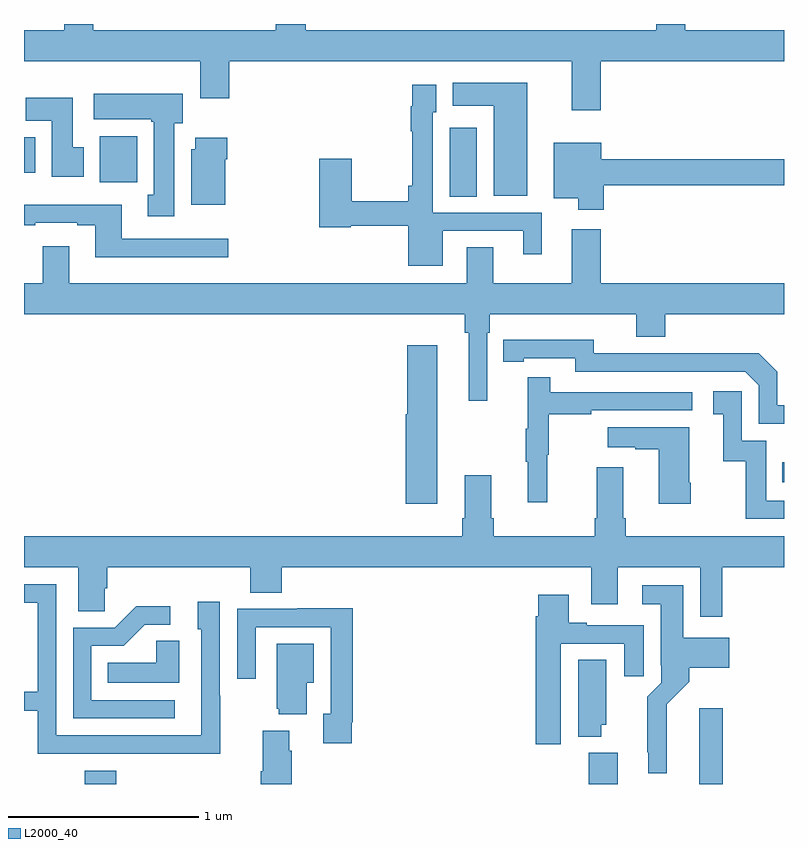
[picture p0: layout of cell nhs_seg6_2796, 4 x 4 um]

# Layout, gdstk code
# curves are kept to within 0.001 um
import gdstk
lib = gdstk.Library(unit=1e-6, precision=1e-09)
def R(c, l, rs):  # rectangles x0, y0, x1, y1
    for r in rs: c.add(gdstk.rectangle(r[:2], r[2:], *l))
def P(c, l, *ps):  # polygons
    for p in ps: c.add(gdstk.Polygon(p, *l))
L2000_40 = (2000, 40)

nhs_seg6_2796 = lib.new_cell('nhs_seg6_2796')
R(nhs_seg6_2796, L2000_40, [(275.321,975.5,275.486,975.571), (277.973,975.5,278.125,975.664), (278.555,975.5,278.678,975.898), (278.992,977.088,279,977.193), (277.241,978.592,277.384,978.955), (275.399,978.668,275.596,978.91), (275,978.716,275.059,978.904)])
P(nhs_seg6_2796, L2000_40, [(278.036,979.304),(279,979.304),(279,979.468),(278.48,979.468),(278.48,979.5),(278.327,979.5),(278.327,979.468),(276.482,979.468),(276.482,979.5),(276.325,979.5),(276.325,979.468),(275.365,979.468),(275.365,979.5),(275.213,979.5),(275.213,979.468),(275,979.468),(275,979.304),(275.927,979.304),(275.927,979.11),(276.08,979.11),(276.08,979.304),(277.883,979.304),(277.883,979.047),(278.036,979.047)],
  [(277.648,979.192),(277.256,979.192),(277.256,979.07),(277.472,979.07),(277.472,978.596),(277.648,978.596)],
  [(277.204,978.411),(277.628,978.411),(277.628,978.288),(277.726,978.288),(277.726,978.507),(277.152,978.507),(277.152,979.035),(277.171,979.035),(277.171,979.18),(277.044,979.18),(277.044,979.067),(277.036,979.067),(277.036,978.935),(277.044,978.935),(277.044,978.649),(277.022,978.649),(277.022,978.566),(276.724,978.566),(276.724,978.79),(276.554,978.79),(276.554,978.43),(276.72,978.43),(276.72,978.438),(277.022,978.438),(277.022,978.227),(277.204,978.227)],
  [(275.791,978.978),(275.836,978.978),(275.836,979.132),(275.367,979.132),(275.367,978.998),(275.671,978.998),(275.671,978.985),(275.684,978.985),(275.684,978.602),(275.651,978.602),(275.651,978.489),(275.791,978.489)],
  [(275.314,978.852),(275.257,978.852),(275.257,979.111),(275.008,979.111),(275.008,978.992),(275.147,978.992),(275.147,978.696),(275.314,978.696)],
  [(276.058,978.788),(276.071,978.788),(276.071,978.901),(275.9,978.901),(275.9,978.84),(275.879,978.84),(275.879,978.548),(276.058,978.548)],
  [(278.051,978.652),(279,978.652),(279,978.788),(278.038,978.788),(278.038,978.874),(277.787,978.874),(277.787,978.584),(277.916,978.584),(277.916,978.522),(278.051,978.522)],
  [(276.076,978.369),(275.515,978.369),(275.515,978.55),(275,978.55),(275,978.441),(275.059,978.441),(275.059,978.453),(275.279,978.453),(275.279,978.441),(275.375,978.441),(275.375,978.272),(276.076,978.272)],
  [(277.437,977.876),(277.451,977.876),(277.451,977.972),(278.222,977.972),(278.222,977.855),(278.375,977.855),(278.375,977.972),(279,977.972),(279,978.136),(278.036,978.136),(278.036,978.421),(277.883,978.421),(277.883,978.136),(277.471,978.136),(277.471,978.326),(277.331,978.326),(277.331,978.136),(275.239,978.136),(275.239,978.331),(275.099,978.331),(275.099,978.136),(275,978.136),(275,977.972),(277.321,977.972),(277.321,977.876),(277.34,977.876),(277.34,977.517),(277.437,977.517)],
  [(279,977.493),(278.964,977.493),(278.964,977.67),(278.866,977.768),(278.458,977.768),(278.458,977.766),(277.998,977.766),(277.998,977.839),(277.522,977.838),(277.522,977.722),(277.63,977.722),(277.63,977.742),(277.902,977.742),(277.902,977.67),(278.796,977.67),(278.868,977.598),(278.868,977.397),(279,977.397)],
  [(277.174,977.809),(277.016,977.809),(277.016,977.445),(277.01,977.445),(277.01,976.974),(277.174,976.974)],
  [(277.754,977.232),(277.762,977.232),(277.762,977.446),(277.985,977.446),(277.985,977.466),(278.518,977.466),(278.518,977.562),(277.769,977.562),(277.769,977.641),(277.652,977.641),(277.652,977.369),(277.641,977.369),(277.641,977.195),(277.652,977.195),(277.652,976.983),(277.754,976.983)],
  [(279,976.992),(278.907,976.992),(278.907,977.307),(278.778,977.307),(278.778,977.566),(278.628,977.566),(278.628,977.445),(278.681,977.445),(278.681,977.199),(278.799,977.199),(278.799,976.896),(279,976.896)],
  [(278.508,977.086),(278.5,977.086),(278.5,977.377),(278.073,977.377),(278.073,977.273),(278.216,977.273),(278.216,977.263),(278.342,977.263),(278.342,976.974),(278.508,976.974)],
  [(275,976.64),(275.285,976.64),(275.285,976.408),(275.424,976.408),(275.424,976.531),(275.438,976.531),(275.438,976.64),(276.191,976.64),(276.191,976.507),(276.356,976.507),(276.356,976.64),(277.985,976.64),(277.985,976.446),(278.125,976.446),(278.125,976.64),(278.559,976.64),(278.559,976.38),(278.675,976.38),(278.675,976.64),(279,976.64),(279,976.804),(278.168,976.804),(278.168,976.9),(278.155,976.9),(278.155,977.167),(278.015,977.167),(278.015,976.9),(278.003,976.9),(278.003,976.804),(277.472,976.804),(277.472,976.9),(277.459,976.9),(277.459,977.125),(277.319,977.125),(277.319,976.9),(277.307,976.9),(277.307,976.804),(275,976.804)],
  [(276.033,975.965),(276.03,975.965),(276.03,976.459),(275.915,976.459),(275.915,976.314),(275.934,976.314),(275.934,975.756),(275.169,975.756),(275.169,976.551),(275,976.551),(275,976.455),(275.073,976.455),(275.073,975.986),(275,975.986),(275,975.885),(275.073,975.885),(275.073,975.66),(275.569,975.66),(275.569,975.659),(276.033,975.659)],
  [(278.383,975.92),(278.501,976.038),(278.501,976.112),(278.713,976.112),(278.713,976.27),(278.47,976.27),(278.47,976.546),(278.253,976.546),(278.253,976.445),(278.351,976.445),(278.351,976.126),(278.355,976.126),(278.355,976.032),(278.281,975.958),(278.281,975.667),(278.285,975.667),(278.285,975.557),(278.383,975.557)],
  [(277.825,976.239),(278.159,976.239),(278.159,976.068),(278.263,976.068),(278.263,976.335),(277.963,976.335),(277.963,976.348),(277.867,976.348),(277.867,976.495),(277.706,976.495),(277.706,976.382),(277.694,976.382),(277.694,975.708),(277.825,975.708)],
  [(275.794,975.942),(275.355,975.942),(275.355,976.227),(275.524,976.227),(275.635,976.338),(275.77,976.338),(275.77,976.436),(275.591,976.436),(275.478,976.323),(275.259,976.323),(275.259,975.846),(275.794,975.846)],
  [(276.724,975.826),(276.731,975.826),(276.731,976.424),(276.439,976.424),(276.439,976.422),(276.123,976.422),(276.123,976.053),(276.219,976.053),(276.219,976.326),(276.615,976.326),(276.615,975.87),(276.575,975.87),(276.575,975.714),(276.724,975.714)],
  [(275.818,976.253),(275.697,976.253),(275.697,976.138),(275.44,976.138),(275.44,976.034),(275.818,976.034)],
  [(276.487,976.034),(276.526,976.034),(276.526,976.237),(276.329,976.237),(276.329,975.897),(276.341,975.897),(276.341,975.866),(276.487,975.866)],
  [(278.038,975.813),(278.065,975.813),(278.065,976.154),(277.916,976.154),(277.916,975.749),(278.038,975.749)],
  [(276.41,975.674),(276.397,975.674),(276.397,975.781),(276.257,975.781),(276.257,975.568),(276.245,975.568),(276.245,975.5),(276.41,975.5)])

lib.write_gds('nhs_seg6_2796.gds')
